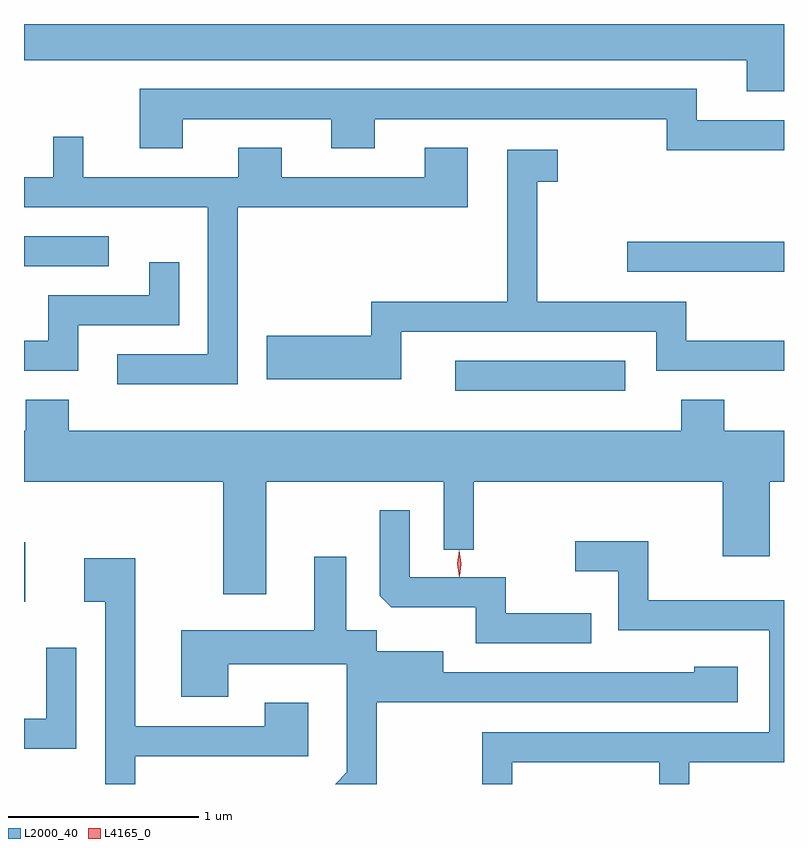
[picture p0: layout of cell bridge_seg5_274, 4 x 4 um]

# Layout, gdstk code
import gdstk
lib = gdstk.Library(unit=1e-6, precision=1e-09)
def R(c, l, rs):  # rectangles x0, y0, x1, y1
    for r in rs: c.add(gdstk.rectangle(r[:2], r[2:], *l))
def P(c, l, *ps):  # polygons
    for p in ps: c.add(gdstk.Polygon(p, *l))
L2000_40 = (2000, 40)
L4165_0 = (4165, 0)

bridge_seg5_274 = lib.new_cell('bridge_seg5_274')
R(bridge_seg5_274, L2000_40, [(742.803,1507.226,742.809,1507.539), (745.073,1508.336,745.968,1508.494), (745.978,1508.961,746.803,1509.119), (742.803,1508.991,743.248,1509.149)])
P(bridge_seg5_274, L2000_40, [(746.803,1510.266),(742.803,1510.266),(742.803,1510.076),(746.606,1510.076),(746.606,1509.911),(746.803,1509.911)],
  [(746.803,1509.759),(746.344,1509.759),(746.344,1509.924),(743.411,1509.924),(743.411,1509.611),(743.639,1509.611),(743.639,1509.766),(744.421,1509.766),(744.421,1509.611),(744.649,1509.611),(744.649,1509.766),(746.186,1509.766),(746.186,1509.601),(746.803,1509.601)],
  [(743.929,1509.301),(745.139,1509.301),(745.139,1509.614),(744.911,1509.614),(744.911,1509.459),(744.159,1509.459),(744.159,1509.614),(743.931,1509.614),(743.931,1509.459),(743.114,1509.459),(743.114,1509.673),(742.956,1509.673),(742.956,1509.459),(742.803,1509.459),(742.803,1509.301),(743.771,1509.301),(743.771,1508.529),(743.293,1508.529),(743.293,1508.371),(743.929,1508.371)],
  [(744.789,1508.646),(746.131,1508.646),(746.131,1508.441),(746.803,1508.441),(746.803,1508.599),(746.289,1508.599),(746.289,1508.804),(745.504,1508.804),(745.504,1509.436),(745.613,1509.436),(745.613,1509.604),(745.346,1509.604),(745.346,1508.804),(744.631,1508.804),(744.631,1508.624),(744.081,1508.624),(744.081,1508.396),(744.789,1508.396)],
  [(743.089,1508.681),(743.619,1508.681),(743.619,1509.013),(743.461,1509.013),(743.461,1508.839),(742.931,1508.839),(742.931,1508.599),(742.803,1508.599),(742.803,1508.441),(743.089,1508.441)],
  [(744.079,1507.856),(745.011,1507.856),(745.011,1507.498),(745.169,1507.498),(745.169,1507.856),(746.481,1507.856),(746.481,1507.466),(746.729,1507.466),(746.729,1507.856),(746.803,1507.856),(746.803,1508.124),(746.489,1508.124),(746.489,1508.289),(746.261,1508.289),(746.261,1508.124),(743.039,1508.124),(743.039,1508.289),(742.811,1508.289),(742.811,1508.124),(742.803,1508.124),(742.803,1507.856),(743.851,1507.856),(743.851,1507.266),(744.079,1507.266)],
  [(745.788,1507.164),(745.339,1507.164),(745.339,1507.354),(744.834,1507.354),(744.834,1507.708),(744.676,1507.708),(744.676,1507.257),(744.737,1507.196),(745.181,1507.196),(745.181,1507.006),(745.788,1507.006)],
  [(745.374,1506.381),(746.146,1506.381),(746.146,1506.266),(746.304,1506.266),(746.304,1506.381),(746.803,1506.381),(746.803,1507.234),(746.089,1507.234),(746.089,1507.544),(745.703,1507.544),(745.703,1507.386),(745.931,1507.386),(745.931,1507.076),(746.726,1507.076),(746.726,1506.539),(745.216,1506.539),(745.216,1506.266),(745.374,1506.266)],
  [(744.659,1506.696),(746.559,1506.696),(746.559,1506.884),(746.331,1506.884),(746.331,1506.854),(745.009,1506.854),(745.009,1506.964),(744.659,1506.964),(744.659,1507.074),(744.499,1507.074),(744.499,1507.463),(744.331,1507.463),(744.331,1507.074),(743.631,1507.074),(743.631,1506.726),(743.879,1506.726),(743.879,1506.896),(744.501,1506.896),(744.501,1506.327),(744.441,1506.266),(744.659,1506.266)],
  [(743.389,1506.411),(744.299,1506.411),(744.299,1506.694),(744.071,1506.694),(744.071,1506.569),(743.389,1506.569),(743.389,1507.454),(743.121,1507.454),(743.121,1507.226),(743.231,1507.226),(743.231,1506.266),(743.389,1506.266)],
  [(743.079,1506.983),(742.921,1506.983),(742.921,1506.609),(742.803,1506.609),(742.803,1506.451),(743.079,1506.451)])
P(bridge_seg5_274, L4165_0, [(745.096,1507.359),(745.096,1507.36),(745.085,1507.426),(745.093,1507.492),(745.094,1507.492),(745.094,1507.492),(745.105,1507.426),(745.097,1507.36)],
  [(745.094,1507.357),(745.094,1507.358),(745.084,1507.426),(745.093,1507.495),(745.094,1507.495),(745.094,1507.495),(745.104,1507.426),(745.095,1507.358)])

lib.write_gds('bridge_seg5_274.gds')
